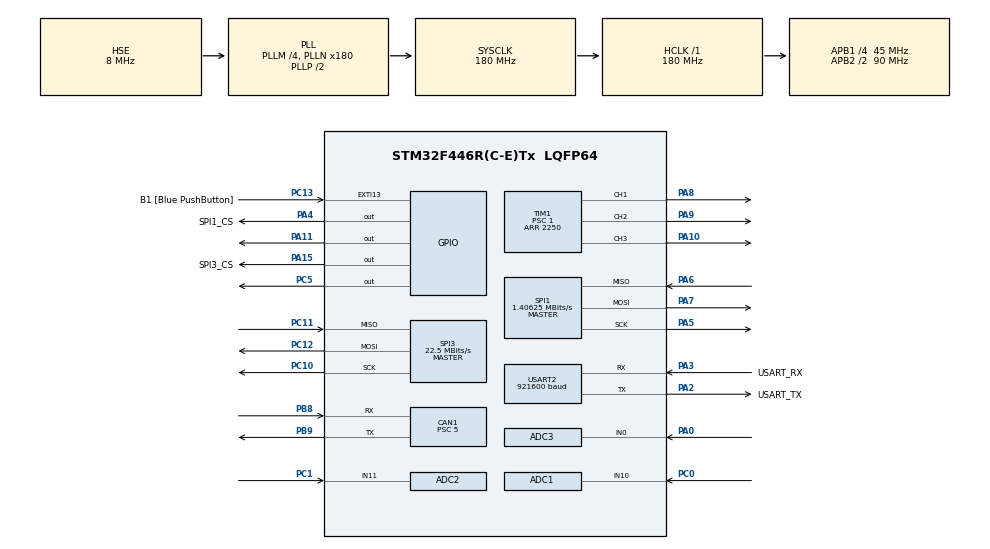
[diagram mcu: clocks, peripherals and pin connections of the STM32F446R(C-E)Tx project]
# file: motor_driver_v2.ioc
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ADC1.Channel-0\#ChannelRegularConversion=ADC_CHANNEL_10
ADC1.ClockPrescaler=ADC_CLOCK_SYNC_PCLK_DIV4
ADC1.EOCSelection=ADC_EOC_SINGLE_CONV
ADC1.ExternalTrigConv=ADC_SOFTWARE_START
ADC1.Mode=ADC_TRIPLEMODE_REGSIMULT
ADC1.NbrOfConversion=1
ADC1.NbrOfConversionFlag=1
ADC1.Rank-0\#ChannelRegularConversion=1
ADC1.SamplingTime-0\#ChannelRegularConversion=ADC_SAMPLETIME_3CYCLES
ADC1.master=1
ADC2.Channel-0\#ChannelRegularConversion=ADC_CHANNEL_11
ADC2.ClockPrescaler=ADC_CLOCK_SYNC_PCLK_DIV4
ADC2.Mode=ADC_TRIPLEMODE_REGSIMULT
ADC2.NbrOfConversionFlag=1
ADC2.Rank-0\#ChannelRegularConversion=1
ADC2.SamplingTime-0\#ChannelRegularConversion=ADC_SAMPLETIME_3CYCLES
ADC3.Channel-2\#ChannelRegularConversion=ADC_CHANNEL_0
ADC3.ClockPrescaler=ADC_CLOCK_SYNC_PCLK_DIV4
ADC3.Mode=ADC_TRIPLEMODE_REGSIMULT
ADC3.NbrOfConversionFlag=1
ADC3.Rank-2\#ChannelRegularConversion=1
ADC3.SamplingTime-2\#ChannelRegularConversion=ADC_SAMPLETIME_3CYCLES
CAN1.BS1=CAN_BS1_5TQ
CAN1.BS2=CAN_BS2_3TQ
CAN1.CalculateBaudRate=1000000
CAN1.CalculateTimeBit=1000
CAN1.CalculateTimeQuantum=111.11111111111111
CAN1.NART=ENABLE
CAN1.Prescaler=5
CAN1.SJW=CAN_SJW_2TQ
Mcu.Family=STM32F4
Mcu.Name=STM32F446R(C-E)Tx
Mcu.Package=LQFP64
NVIC.PriorityGroup=NVIC_PRIORITYGROUP_2
NVIC.TIM1_UP_TIM10_IRQn=true\:1\:0\:true\:false\:true\:true\:true\:true
NVIC.USART2_IRQn=true\:2\:0\:true\:false\:true\:true\:true\:true
PA0-WKUP.Signal=ADCx_IN0
PA10.GPIO_Speed=GPIO_SPEED_FREQ_VERY_HIGH
PA10.Signal=S_TIM1_CH3
PA11.GPIO_Speed=GPIO_SPEED_FREQ_VERY_HIGH
PA11.Signal=GPIO_Output
PA13.GPIO_Label=TMS
PA13.Mode=Serial_Wire
PA13.Signal=SYS_JTMS-SWDIO
PA14.GPIO_Label=TCK
PA14.Mode=Serial_Wire
PA14.Signal=SYS_JTCK-SWCLK
PA15.GPIO_Label=SPI3_CS
PA15.GPIO_ModeDefaultOutputPP=GPIO_MODE_OUTPUT_PP
PA15.GPIO_PuPd=GPIO_NOPULL
PA15.GPIO_Speed=GPIO_SPEED_FREQ_VERY_HIGH
PA15.Signal=GPIO_Output
PA2.GPIO_Label=USART_TX
PA2.Mode=Asynchronous
PA2.Signal=USART2_TX
PA3.GPIO_Label=USART_RX
PA3.Mode=Asynchronous
PA3.Signal=USART2_RX
PA4.GPIO_Label=SPI1_CS
PA4.GPIO_Speed=GPIO_SPEED_FREQ_VERY_HIGH
PA4.Signal=GPIO_Output
PA5.Mode=Full_Duplex_Master
PA5.Signal=SPI1_SCK
PA6.Mode=Full_Duplex_Master
PA6.Signal=SPI1_MISO
PA7.Mode=Full_Duplex_Master
PA7.Signal=SPI1_MOSI
PA8.GPIO_Speed=GPIO_SPEED_FREQ_VERY_HIGH
PA8.Signal=S_TIM1_CH1
PA9.GPIO_Speed=GPIO_SPEED_FREQ_VERY_HIGH
PA9.Signal=S_TIM1_CH2
PB3.GPIO_Label=SWO
PB3.Signal=SYS_JTDO-SWO
PB8.Mode=CAN_Activate
PB8.Signal=CAN1_RX
PB9.Mode=CAN_Activate
PB9.Signal=CAN1_TX
PC0.Signal=ADCx_IN10
PC1.Signal=ADCx_IN11
PC10.Mode=Full_Duplex_Master
PC10.Signal=SPI3_SCK
PC11.Mode=Full_Duplex_Master
PC11.Signal=SPI3_MISO
PC12.Mode=Full_Duplex_Master
PC12.Signal=SPI3_MOSI
PC13.GPIO_Label=B1 [Blue PushButton]
PC13.GPIO_ModeDefaultEXTI=GPIO_MODE_IT_FALLING
PC13.Signal=GPXTI13
PC5.GPIO_Speed=GPIO_SPEED_FREQ_VERY_HIGH
PC5.Signal=GPIO_Output
PH0-OSC_IN.Mode=HSE-External-Oscillator
PH0-OSC_IN.Signal=RCC_OSC_IN
PH1-OSC_OUT.Mode=HSE-External-Oscillator
PH1-OSC_OUT.Signal=RCC_OSC_OUT
ProjectManager.HeapSize=0x200
ProjectManager.StackSize=0x400
ProjectManager.TargetToolchain=STM32CubeIDE
RCC.48MHZClocksFreq_Value=84000000
RCC.AHBFreq_Value=180000000
RCC.APB1CLKDivider=RCC_HCLK_DIV4
RCC.APB1Freq_Value=45000000
RCC.APB1TimFreq_Value=90000000
RCC.APB2CLKDivider=RCC_HCLK_DIV2
RCC.APB2Freq_Value=90000000
RCC.APB2TimFreq_Value=180000000
RCC.CortexFreq_Value=180000000
RCC.FLatency-AdvancedSettings=FLASH_LATENCY_5
RCC.HCLKFreq_Value=180000000
RCC.HSE_VALUE=8000000
RCC.HSI_VALUE=16000000
RCC.PLLM=4
RCC.PLLN=180
RCC.PLLSourceVirtual=RCC_PLLSOURCE_HSE
RCC.SYSCLKFreq_VALUE=180000000
RCC.SYSCLKSource=RCC_SYSCLKSOURCE_PLLCLK
RCC.USBFreq_Value=180000000
RCC.VCOOutputFreq_Value=360000000
SH.ADCx_IN0.0=ADC3_IN0,IN0
SH.ADCx_IN10.0=ADC1_IN10,IN10
SH.ADCx_IN11.0=ADC2_IN11,IN11
SH.S_TIM1_CH1.0=TIM1_CH1,PWM Generation1 CH1
SH.S_TIM1_CH2.0=TIM1_CH2,PWM Generation2 CH2
SH.S_TIM1_CH3.0=TIM1_CH3,PWM Generation3 CH3
SPI1.BaudRatePrescaler=SPI_BAUDRATEPRESCALER_64
SPI1.CLKPhase=SPI_PHASE_2EDGE
SPI1.CalculateBaudRate=1.40625 MBits/s
SPI1.DataSize=SPI_DATASIZE_16BIT
SPI1.Direction=SPI_DIRECTION_2LINES
SPI1.FirstBit=SPI_FIRSTBIT_MSB
SPI1.Mode=SPI_MODE_MASTER
SPI1.VirtualType=VM_MASTER
SPI3.BaudRatePrescaler=SPI_BAUDRATEPRESCALER_2
SPI3.CLKPhase=SPI_PHASE_2EDGE
SPI3.CalculateBaudRate=22.5 MBits/s
SPI3.DataSize=SPI_DATASIZE_8BIT
SPI3.Direction=SPI_DIRECTION_2LINES
SPI3.Mode=SPI_MODE_MASTER
SPI3.VirtualType=VM_MASTER
TIM1.AutoReloadPreload=TIM_AUTORELOAD_PRELOAD_ENABLE
TIM1.BreakPolarity=TIM_BREAKPOLARITY_HIGH
TIM1.Channel-PWM\ Generation1\ CH1=TIM_CHANNEL_1
TIM1.Channel-PWM\ Generation2\ CH2=TIM_CHANNEL_2
TIM1.Channel-PWM\ Generation3\ CH3=TIM_CHANNEL_3
TIM1.CounterMode=TIM_COUNTERMODE_CENTERALIGNED1
TIM1.OCFastMode_PWM-PWM\ Generation1\ CH1=TIM_OCFAST_ENABLE
TIM1.OCFastMode_PWM-PWM\ Generation2\ CH2=TIM_OCFAST_ENABLE
TIM1.OCFastMode_PWM-PWM\ Generation3\ CH3=TIM_OCFAST_ENABLE
TIM1.OCPolarity_1=TIM_OCPOLARITY_LOW
TIM1.OCPolarity_2=TIM_OCPOLARITY_LOW
TIM1.OCPolarity_3=TIM_OCPOLARITY_LOW
TIM1.Period=2250
TIM1.Prescaler=1
TIM1.RepetitionCounter=1
TIM2.Prescaler=90
TIM3.Prescaler=90
USART2.BaudRate=921600
USART2.VirtualMode=VM_ASYNC
VP_TIM1_VS_ClockSourceINT.Mode=Internal
VP_TIM2_VS_ClockSourceINT.Mode=Internal
VP_TIM3_VS_ClockSourceINT.Mode=Internal
board=NUCLEO-F446RE

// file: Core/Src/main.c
/* USER CODE BEGIN Header */
/**
  ******************************************************************************
  * @file           : main.c
  * @brief          : Main program body
  ******************************************************************************
  * @attention
  *
  * <h2><center>&copy; Copyright (c) 2020 STMicroelectronics.
  * All rights reserved.</center></h2>
  *
  * This software component is licensed by ST under BSD 3-Clause license,
  * the "License"; You may not use this file except in compliance with the
  * License. You may obtain a copy of the License at:
  *                        opensource.org/licenses/BSD-3-Clause
  *
  ******************************************************************************
  */

/// high-bandwidth 3-phase motor control for robots
/// Written by Ben Katz, with much inspiration from Bayley Wang, Nick Kirkby, Shane Colton, David Otten, and others
/// Hardware documentation can be found at build-its.blogspot.com

/* USER CODE END Header */
#include "main.h"
#include "adc.h"
#include "can.h"
#include "spi.h"
#include "tim.h"
#include "usart.h"
#include "gpio.h"

/* USER CODE BEGIN Includes */
#include "structs.h"
#include <stdio.h>
#include <string.h>

#include "stm32f4xx_flash.h"
#include "flash_writer.h"
#include "position_sensor.h"
#include "preference_writer.h"
#include "hw_config.h"
#include "user_config.h"
#include "fsm.h"
#include "drv8323.h"
#include "foc.h"
#include "math_ops.h"
#include "calibration.h"
/* USER CODE END Includes */

/* USER CODE BEGIN PM */

#define VERSION_NUM 3.22f

/* USER CODE END PM */

/* USER CODE BEGIN PV */

/* Flash Registers */
float __float_reg[64];
int __int_reg[256];
PreferenceWriter prefs;

int count = 0;

/* Structs for control, etc */

ControllerStruct controller;
ObserverStruct observer;
COMStruct com;
FSMStruct state;
EncoderStruct comm_encoder;
DRVStruct drv;
CalStruct comm_encoder_cal;
CANTxMessage can_tx;
CANRxMessage can_rx;

//CAN ACTIAVTION FLAG
int CAN_ACTIVE = 0;

/* init but don't allocate calibration arrays */
int *error_array = NULL;
int *lut_array = NULL;

uint8_t Serial2RxBuffer[1];

int loop_time;

/* USER CODE END PV */

void SystemClock_Config(void);

int main(void)
{

  /* MCU Configuration--------------------------------------------------------*/

  /* Reset of all peripherals, Initializes the Flash interface and the Systick. */
  HAL_Init();

  /* Configure the system clock */
  SystemClock_Config();

  /* USER CODE BEGIN SysInit */
  HAL_Delay(500);
  /* USER CODE END SysInit */

  /* Initialize all configured peripherals */
  MX_GPIO_Init();
  MX_USART2_UART_Init();
  MX_TIM1_Init();
  MX_CAN1_Init();
  MX_SPI1_Init();
  MX_SPI3_Init();
  MX_ADC1_Init();
  MX_ADC2_Init();
  MX_ADC3_Init();
  MX_TIM2_Init();
  MX_TIM3_Init();
  /* USER CODE BEGIN 2 */
  HAL_TIM_Base_Start(&htim2); // enable this to use delay_us() function
  HAL_TIM_Base_Start(&htim3); // enable this to time functions in us

  /* Load settings from flash */
  preference_writer_init(&prefs, 6);
  preference_writer_load(prefs);

  /* Sanitize configs in case flash is empty*/
  if(PHASE_ORDER==-1){PHASE_ORDER = 0;};
  if(CAN_ID==-1){CAN_ID = 1;}
  if(CAN_MASTER==-1){CAN_MASTER = 0;}
  if(CAN_TIMEOUT==-1){CAN_TIMEOUT = 1000;}
  if(EN_ENC_FILTER ==-1){EN_ENC_FILTER = 0;}
  if(EN_ENC_LINEARIZE ==-1){EN_ENC_LINEARIZE = 0;}
  if(E_ZERO==-1){E_ZERO = 0;}
  if(M_ZERO==-1){M_ZERO = 0;}

  if(isnan(I_BW) || I_BW==-1){I_BW = 1000;}
  if(isnan(I_MAX) || I_MAX ==-1){I_MAX=40;}
  if(isnan(I_MAX_CONT) || I_MAX_CONT==-1){I_MAX_CONT = 14.0f;}
  if(isnan(I_CAL)||I_CAL==-1){I_CAL = 5.0f;}
  if(isnan(I_FW_MAX) || I_FW_MAX ==-1){I_FW_MAX=0;}

//  if(isnan(K_SCALE) || K_SCALE==-1){K_SCALE = 0.000133f;}
//  if(isnan(KI_D) || KI_D==-1){KI_D = 0.0373f;}
//  if(isnan(KI_Q) || KI_Q ==-1){KI_Q = 0.0373f;}

  if(isnan(PPAIRS) || PPAIRS==-1){PPAIRS = 21.0f;}
  if(isnan(GR) || GR==-1){GR = 6.0f;}
  if(isnan(KT_OUT) || KT_OUT==-1){KT_OUT = 1.0f;}
  if(isnan(L_D) || L_D==-1){L_D = 0.000200f;}
  if(isnan(L_Q) || L_Q==-1){L_Q = 0.000200f;}
  if(isnan(R_PHASE) || R_PHASE==-1){R_PHASE = 0.433f;}
  if(isnan(R_NOMINAL) || R_NOMINAL==-1){R_NOMINAL = 0.0f;}
  if(isnan(K_SCALE) || K_SCALE==-1){K_SCALE = 0.000380;}
  if(isnan(KI_D) || KI_D==-1){KI_D = 0.0650f;}
  if(isnan(KI_Q) || KI_Q==-1){KI_Q = 0.0650f;}

  if(isnan(R_TH) || R_TH==-1){R_TH = 1.25f;}
  if(isnan(C_TH) || C_TH==-1){C_TH = 0.0f;}
  if(isnan(INV_M_TH) || INV_M_TH==-1){INV_M_TH = 0.02825f;}
  if(isnan(T_AMBIENT) || T_AMBIENT==-1){T_AMBIENT = 25.0f;}
  if(isnan(TEMP_MAX) || TEMP_MAX==-1){TEMP_MAX = 125.0f;}

  if(isnan(P_MIN) || P_MIN==-1){P_MIN = -12.5f;}
  if(isnan(P_MAX) || P_MAX==-1){P_MAX = 12.5f;}
  if(isnan(V_MIN) || V_MIN==-1){V_MIN = -65.0f;}
  if(isnan(V_MAX) || V_MAX==-1){V_MAX = 65.0f;}
  if(isnan(KP_MAX) || KP_MAX==-1){KP_MAX = 500.0f;}
  if(isnan(KD_MAX) || KD_MAX==-1){KD_MAX = 10.0f;}
  if(isnan(T_MIN) || T_MIN==-1){T_MIN = -1.0f;}
  if(isnan(T_MAX) || T_MAX==-1){T_MAX = 1.0f;}

  if(isnan(KT_1) || KT_1==-1){KT_1 = 1.0f;}
  if(isnan(KT_2) || KT_2==-1){KT_2 = 0.0f;}

  printf("\r\nFirmware Version Number: %.3f\r\n", VERSION_NUM);

  /* Controller Setup */
  if(PHASE_ORDER){							// Timer channel to phase mapping

  }
  else{

  }

  init_controller_params(&controller);

  /* calibration "encoder" zeroing */
  memset(&comm_encoder_cal.cal_position, 0, sizeof(EncoderStruct));

  /* commutation encoder setup */
  comm_encoder.m_zero = M_ZERO;
  comm_encoder.e_zero = E_ZERO;
  comm_encoder.ppairs = PPAIRS;
//  ps_warmup(&comm_encoder, 100);			// clear the noisy data when the encoder first turns on

  memcpy(&comm_encoder.offset_lut, &ENCODER_LUT, sizeof(comm_encoder.offset_lut));	// Copy the linearization lookup table
  //for(int i = 0; i<128; i++){printf("%d\r\n", comm_encoder.offset_lut[i]);}

  /* Turn on ADCs */
  HAL_ADC_Start(&hadc1);
  HAL_ADC_Start(&hadc2);
  HAL_ADC_Start(&hadc3);

  /* DRV8323 setup */
  HAL_GPIO_WritePin(DRV_CS, GPIO_PIN_SET ); 	// CS high
  HAL_GPIO_WritePin(ENABLE_PIN, GPIO_PIN_SET );
  HAL_Delay(1);
  drv_write_DCR(drv, 0x0, DIS_GDF_DIS, 0x0, PWM_MODE_3X, 0x0, 0x0, 0x0, 0x0, 0x1); //  TODO: enable gate drive fault?
  HAL_Delay(1);
  drv_write_CSACR(drv, 0x0, 0x1, 0x0, CSA_GAIN_40, DIS_SEN_EN, 0x1, 0x1, 0x1, SEN_LVL_1_0); // calibrate shunt amplifiers
  HAL_Delay(1);
  zero_current(&controller); // moved this between the two drv_write_CSACR calls to match mbed fw version
  HAL_Delay(1);
  drv_write_CSACR(drv, 0x0, 0x1, 0x0, CSA_GAIN_40, DIS_SEN_DIS, 0x0, 0x0, 0x0, SEN_LVL_1_0); // TODO: enable sensing of overcurrent fault?
  HAL_Delay(1);
  drv_write_OCPCR(drv, TRETRY_50US, DEADTIME_50NS, OCP_NONE, OCP_DEG_8US, VDS_LVL_1_88); // TODO: reduce VDS level and add OCP_RETRY?
  HAL_Delay(1);
  drv_disable_gd(drv);
  HAL_Delay(1);
  //drv_enable_gd(drv);
  printf("ADC A OFFSET: %d     ADC B OFFSET: %d\r\n", controller.adc_a_offset, controller.adc_b_offset);

  /* Turn on PWM */
  HAL_TIM_PWM_Start(&htim1, TIM_CHANNEL_1);
  HAL_TIM_PWM_Start(&htim1, TIM_CHANNEL_2);
  HAL_TIM_PWM_Start(&htim1, TIM_CHANNEL_3);

  /* CAN setup */
  can_rx_init(&can_rx);
  can_tx_init(&can_tx);
  HAL_CAN_Start(&CAN_H); //start CAN
  //__HAL_CAN_ENABLE_IT(&CAN_H, CAN_IT_RX_FIFO0_MSG_PENDING); // Start can interrupt

  /* Set Interrupt Priorities */
  HAL_NVIC_SetPriority(PWM_ISR, 0x01,0x01); // commutation > communication
//  HAL_NVIC_SetPriority(CAN_ISR, 0x02, 0x02);

  /* Turn on interrupts */
  HAL_UART_Receive_IT(&huart2, (uint8_t *)Serial2RxBuffer, 1);
  HAL_TIM_Base_Start_IT(&htim1); // start main control interrupt

  // Check encoder initialization here
  int new_offset = 0;
  //ps_sample(&comm_encoder, 0.001);
  delay_us(100);
  HAL_GPIO_WritePin(LED, GPIO_PIN_SET );
  drv_enable_gd(drv);
//  new_offset = check_encoder_init(&comm_encoder, &controller, &comm_encoder_cal);             // status = 1 is good
  HAL_Delay(100);
  drv_disable_gd(drv);
  HAL_GPIO_WritePin(LED, GPIO_PIN_RESET );

//  E_ZERO = new_offset;
//  comm_encoder.e_zero = new_offset;
//  printf(" Position Sensor Electrical Offset: %d\n\r", comm_encoder.e_zero);

  // initialize filter here for position sensor
  HAL_Delay(100);
//  ps_filter_init(&comm_encoder);

  // average 100 samples for filter init values
  int num_filt_init = 100;
  float filt_prev_mech_temp = 0.0f;
  float filt_prev_elec_temp = 0.0f;
  for (int i=0; i<num_filt_init; i++){
	  filt_prev_mech_temp += (1.0/(float)num_filt_init)*comm_encoder.angle_multiturn[0];
	  filt_prev_elec_temp += (1.0/(float)num_filt_init)*comm_encoder.elec_angle;
	  HAL_Delay(1); // need to wait for some time to get a new position sample
  }
  comm_encoder.filt_prev_mech = filt_prev_mech_temp;
  comm_encoder.filt_prev_elec = filt_prev_elec_temp;

  if (EN_ENC_FILTER == 1){
	  comm_encoder.filt_enable = 1;
  }
  // reset encoder sample count
  comm_encoder.first_sample = 0;

  /* Start the FSM */
  state.state = MENU_MODE;
  state.next_state = MENU_MODE;
  state.ready = 1;
  fsm_enter_state(&state);

  /* USER CODE END 2 */

  /* Infinite loop */
  /* USER CODE BEGIN WHILE */
  while (1)
  {

	  HAL_Delay(100);
//	  printf("%d\n\r", loop_time);
	  drv_check_faults(drv, &state);
	 // if(state.state==MOTOR_MODE){

	  	  //printf("%.2f %.2f %.2f %.2f %.2f\r\n", controller.p_des, controller.v_des, controller.kp, controller.kd, controller.t_ff);
	  //}
    /* USER CODE END WHILE */

  }
}

void SystemClock_Config(void)
{
  RCC_OscInitTypeDef RCC_OscInitStruct = {0};
  RCC_ClkInitTypeDef RCC_ClkInitStruct = {0};

  /** Configure the main internal regulator output voltage
  */
  __HAL_RCC_PWR_CLK_ENABLE();
  __HAL_PWR_VOLTAGESCALING_CONFIG(PWR_REGULATOR_VOLTAGE_SCALE1);

  /** Initializes the RCC Oscillators according to the specified parameters
  * in the RCC_OscInitTypeDef structure.
  */
  RCC_OscInitStruct.OscillatorType = RCC_OSCILLATORTYPE_HSE;
  RCC_OscInitStruct.HSEState = RCC_HSE_ON;
  RCC_OscInitStruct.PLL.PLLState = RCC_PLL_ON;
  RCC_OscInitStruct.PLL.PLLSource = RCC_PLLSOURCE_HSE;
  RCC_OscInitStruct.PLL.PLLM = 4;
  RCC_OscInitStruct.PLL.PLLN = 180;
  RCC_OscInitStruct.PLL.PLLP = RCC_PLLP_DIV2;
  RCC_OscInitStruct.PLL.PLLQ = 2;
  RCC_OscInitStruct.PLL.PLLR = 2;
  if (HAL_RCC_OscConfig(&RCC_OscInitStruct) != HAL_OK)
  {
    Error_Handler();
  }

  /** Activate the Over-Drive mode
  */
  if (HAL_PWREx_EnableOverDrive() != HAL_OK)
  {
    Error_Handler();
  }

  /** Initializes the CPU, AHB and APB buses clocks
  */
  RCC_ClkInitStruct.ClockType = RCC_CLOCKTYPE_HCLK|RCC_CLOCKTYPE_SYSCLK
                              |RCC_CLOCKTYPE_PCLK1|RCC_CLOCKTYPE_PCLK2;
  RCC_ClkInitStruct.SYSCLKSource = RCC_SYSCLKSOURCE_PLLCLK;
  RCC_ClkInitStruct.AHBCLKDivider = RCC_SYSCLK_DIV1;
  RCC_ClkInitStruct.APB1CLKDivider = RCC_HCLK_DIV4;
  RCC_ClkInitStruct.APB2CLKDivider = RCC_HCLK_DIV2;

  if (HAL_RCC_ClockConfig(&RCC_ClkInitStruct, FLASH_LATENCY_5) != HAL_OK)
  {
    Error_Handler();
  }
}

void Error_Handler(void)
{
}
